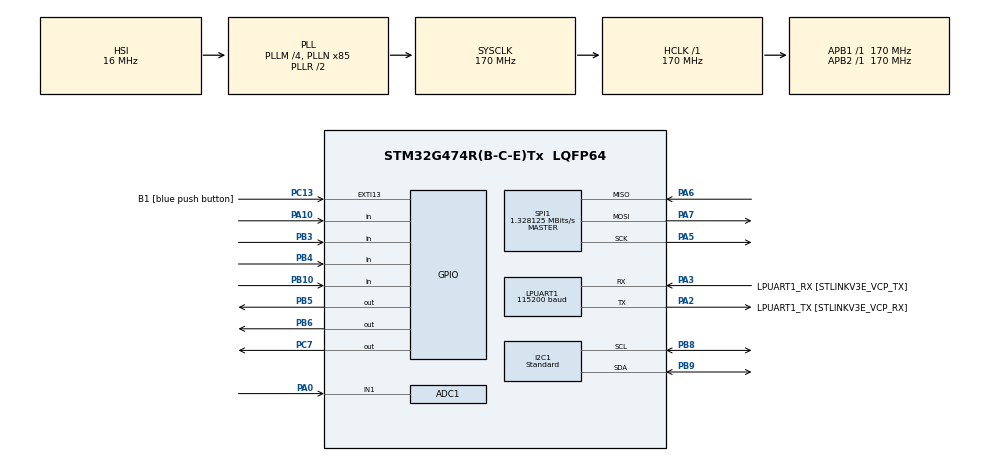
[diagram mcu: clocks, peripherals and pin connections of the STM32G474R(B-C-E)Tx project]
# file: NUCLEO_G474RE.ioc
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ADC1.Channel-2\#ChannelRegularConversion=ADC_CHANNEL_1
ADC1.NbrOfConversionFlag=1
ADC1.OffsetNumber-2\#ChannelRegularConversion=ADC_OFFSET_NONE
ADC1.Rank-2\#ChannelRegularConversion=1
ADC1.SamplingTime-2\#ChannelRegularConversion=ADC_SAMPLETIME_2CYCLES_5
ADC1.master=1
I2C1.CustomTiming=Disabled
I2C1.DualAddressMode=I2C_DUALADDRESS_DISABLE
I2C1.I2C_Speed_Mode=I2C_Standard
I2C1.Timing=0x40B285C2
LPUART1.BaudRate=115200
Mcu.Family=STM32G4
Mcu.Name=STM32G474R(B-C-E)Tx
Mcu.Package=LQFP64
NVIC.EXTI15_10_IRQn=true\:0\:0\:false\:false\:true\:true\:true\:true
NVIC.PriorityGroup=NVIC_PRIORITYGROUP_4
PA0.Mode=IN1-Single-Ended
PA0.Signal=ADC1_IN1
PA10.Signal=GPIO_Input
PA13.GPIO_Label=T_SWDIO
PA13.Signal=SYS_JTMS-SWDIO
PA14.GPIO_Label=T_SWCLK
PA14.Signal=SYS_JTCK-SWCLK
PA2.GPIO_Label=LPUART1_TX [STLINKV3E_VCP_RX]
PA2.Mode=Asynchronous
PA2.Signal=LPUART1_TX
PA3.GPIO_Label=LPUART1_RX [STLINKV3E_VCP_TX]
PA3.Mode=Asynchronous
PA3.Signal=LPUART1_RX
PA5.Mode=Full_Duplex_Master
PA5.Signal=SPI1_SCK
PA6.Mode=Full_Duplex_Master
PA6.Signal=SPI1_MISO
PA7.Mode=Full_Duplex_Master
PA7.Signal=SPI1_MOSI
PB10.Signal=GPIO_Input
PB3.Signal=GPIO_Input
PB4.Signal=GPIO_Input
PB5.PinState=GPIO_PIN_SET
PB5.Signal=GPIO_Output
PB6.Signal=GPIO_Output
PB8-BOOT0.Mode=I2C
PB8-BOOT0.Signal=I2C1_SCL
PB9.Mode=I2C
PB9.Signal=I2C1_SDA
PC13.GPIO_Label=B1 [blue push button]
PC13.Signal=GPXTI13
PC14-OSC32_IN.GPIO_Label=RCC_OSC32_IN
PC14-OSC32_IN.Signal=RCC_OSC32_IN
PC15-OSC32_OUT.GPIO_Label=RCC_OSC32_OUT
PC15-OSC32_OUT.Signal=RCC_OSC32_OUT
PC7.GPIO_Speed=GPIO_SPEED_FREQ_LOW
PC7.PinState=GPIO_PIN_SET
PC7.Signal=GPIO_Output
PF0-OSC_IN.GPIO_Label=RCC_OSC_IN
PF0-OSC_IN.Signal=RCC_OSC_IN
PF1-OSC_OUT.GPIO_Label=RCC_OSC_OUT
PF1-OSC_OUT.Signal=RCC_OSC_OUT
ProjectManager.HeapSize=0x200
ProjectManager.StackSize=0x400
ProjectManager.TargetToolchain=STM32CubeIDE
RCC.ADC12Freq_Value=170000000
RCC.ADC345Freq_Value=170000000
RCC.AHBFreq_Value=170000000
RCC.APB1Freq_Value=170000000
RCC.APB1TimFreq_Value=170000000
RCC.APB2Freq_Value=170000000
RCC.APB2TimFreq_Value=170000000
RCC.CortexFreq_Value=170000000
RCC.EXTERNAL_CLOCK_VALUE=12288000
RCC.HCLKFreq_Value=170000000
RCC.HSE_VALUE=24000000
RCC.HSI48_VALUE=48000000
RCC.HSI_VALUE=16000000
RCC.LSE_VALUE=32768
RCC.PLLM=RCC_PLLM_DIV4
RCC.PLLN=85
RCC.RTCClockSelection=RCC_RTCCLKSOURCE_LSE
RCC.SYSCLKFreq_VALUE=170000000
RCC.SYSCLKSource=RCC_SYSCLKSOURCE_PLLCLK
RCC.USBFreq_Value=170000000
RCC.VCOOutputFreq_Value=340000000
SPI1.BaudRatePrescaler=SPI_BAUDRATEPRESCALER_128
SPI1.CalculateBaudRate=1.328125 MBits/s
SPI1.DataSize=SPI_DATASIZE_8BIT
SPI1.Direction=SPI_DIRECTION_2LINES
SPI1.Mode=SPI_MODE_MASTER
SPI1.NSSPMode=SPI_NSS_PULSE_ENABLE
SPI1.VirtualType=VM_MASTER
VP_SYS_VS_DBSignals.Mode=DisableDeadBatterySignals
board=NUCLEO-G474RE

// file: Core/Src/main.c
/* USER CODE BEGIN Header */
/**
  ******************************************************************************
  * @file           : main.c
  * @brief          : Main program body
  ******************************************************************************
  * @attention
  *
  * Copyright (c) 2025 STMicroelectronics.
  * All rights reserved.
  *
  * This software is licensed under terms that can be found in the LICENSE file
  * in the root directory of this software component.
  * If no LICENSE file comes with this software, it is provided AS-IS.
  *
  ******************************************************************************
  */
/* USER CODE END Header */
#include "main.h"
#include "adBms_Application.h"

ADC_HandleTypeDef hadc1;

I2C_HandleTypeDef hi2c1;

UART_HandleTypeDef hlpuart1;

SPI_HandleTypeDef hspi1;

/* USER CODE BEGIN PV */
uint8_t HeaderTxBuffer[] = "****SPI - Two Boards communication based on Polling **** SPI Message ******** SPI Message ******** SPI Message ****";
/* USER CODE END PV */

void SystemClock_Config(void);
static void MX_GPIO_Init(void);
static void MX_ADC1_Init(void);
static void MX_I2C1_Init(void);
static void MX_LPUART1_UART_Init(void);
static void MX_SPI1_Init(void);
/* USER CODE BEGIN PFP */
#if defined(__ICCARM__)
/* New definition from EWARM V9, compatible with EWARM8 */
int iar_fputc(int ch);
#define PUTCHAR_PROTOTYPE int iar_fputc(int ch)
#elif defined ( __CC_ARM ) || defined(__ARMCC_VERSION)
/* ARM Compiler 5/6*/
#define PUTCHAR_PROTOTYPE int fputc(int ch, FILE *f)
#define GETCHAR_PROTOTYPE int fgetc(FILE *f)
#elif defined(__GNUC__)
#define PUTCHAR_PROTOTYPE int __io_putchar(int ch)
#define GETCHAR_PROTOTYPE int __io_getchar(void)
#endif /* __ICCARM__ */
/* USER CODE END PFP */

int main(void)
{

  /* MCU Configuration--------------------------------------------------------*/

  /* Reset of all peripherals, Initializes the Flash interface and the Systick. */
  HAL_Init();

  /* Configure the system clock */
  SystemClock_Config();

  /* Initialize all configured peripherals */
  MX_GPIO_Init();
  MX_ADC1_Init();
  MX_I2C1_Init();
  MX_LPUART1_UART_Init();
  MX_SPI1_Init();
  setvbuf(stdin, NULL, _IONBF, 0);
  /* USER CODE BEGIN 2 */
  adbms_main();
  /* USER CODE END 2 */

  /* Infinite loop */
  while (1)
  {

  }
}

void SystemClock_Config(void)
{
  RCC_OscInitTypeDef RCC_OscInitStruct = {0};
  RCC_ClkInitTypeDef RCC_ClkInitStruct = {0};

  /** Configure the main internal regulator output voltage
  */
  HAL_PWREx_ControlVoltageScaling(PWR_REGULATOR_VOLTAGE_SCALE1_BOOST);

  /** Initializes the RCC Oscillators according to the specified parameters
  * in the RCC_OscInitTypeDef structure.
  */
  RCC_OscInitStruct.OscillatorType = RCC_OSCILLATORTYPE_HSI;
  RCC_OscInitStruct.HSIState = RCC_HSI_ON;
  RCC_OscInitStruct.HSICalibrationValue = RCC_HSICALIBRATION_DEFAULT;
  RCC_OscInitStruct.PLL.PLLState = RCC_PLL_ON;
  RCC_OscInitStruct.PLL.PLLSource = RCC_PLLSOURCE_HSI;
  RCC_OscInitStruct.PLL.PLLM = RCC_PLLM_DIV4;
  RCC_OscInitStruct.PLL.PLLN = 85;
  RCC_OscInitStruct.PLL.PLLP = RCC_PLLP_DIV2;
  RCC_OscInitStruct.PLL.PLLQ = RCC_PLLQ_DIV2;
  RCC_OscInitStruct.PLL.PLLR = RCC_PLLR_DIV2;
  if (HAL_RCC_OscConfig(&RCC_OscInitStruct) != HAL_OK)
  {
    Error_Handler();
  }

  /** Initializes the CPU, AHB and APB buses clocks
  */
  RCC_ClkInitStruct.ClockType = RCC_CLOCKTYPE_HCLK|RCC_CLOCKTYPE_SYSCLK
                              |RCC_CLOCKTYPE_PCLK1|RCC_CLOCKTYPE_PCLK2;
  RCC_ClkInitStruct.SYSCLKSource = RCC_SYSCLKSOURCE_PLLCLK;
  RCC_ClkInitStruct.AHBCLKDivider = RCC_SYSCLK_DIV1;
  RCC_ClkInitStruct.APB1CLKDivider = RCC_HCLK_DIV1;
  RCC_ClkInitStruct.APB2CLKDivider = RCC_HCLK_DIV1;

  if (HAL_RCC_ClockConfig(&RCC_ClkInitStruct, FLASH_LATENCY_4) != HAL_OK)
  {
    Error_Handler();
  }
}

static void MX_ADC1_Init(void)
{

  ADC_MultiModeTypeDef multimode = {0};
  ADC_ChannelConfTypeDef sConfig = {0};

  /** Common config
  */
  hadc1.Instance = ADC1;
  hadc1.Init.ClockPrescaler = ADC_CLOCK_SYNC_PCLK_DIV4;
  hadc1.Init.Resolution = ADC_RESOLUTION_12B;
  hadc1.Init.DataAlign = ADC_DATAALIGN_RIGHT;
  hadc1.Init.GainCompensation = 0;
  hadc1.Init.ScanConvMode = ADC_SCAN_DISABLE;
  hadc1.Init.EOCSelection = ADC_EOC_SINGLE_CONV;
  hadc1.Init.LowPowerAutoWait = DISABLE;
  hadc1.Init.ContinuousConvMode = DISABLE;
  hadc1.Init.NbrOfConversion = 1;
  hadc1.Init.DiscontinuousConvMode = DISABLE;
  hadc1.Init.ExternalTrigConv = ADC_SOFTWARE_START;
  hadc1.Init.ExternalTrigConvEdge = ADC_EXTERNALTRIGCONVEDGE_NONE;
  hadc1.Init.DMAContinuousRequests = DISABLE;
  hadc1.Init.Overrun = ADC_OVR_DATA_PRESERVED;
  hadc1.Init.OversamplingMode = DISABLE;
  if (HAL_ADC_Init(&hadc1) != HAL_OK)
  {
    Error_Handler();
  }

  /** Configure the ADC multi-mode
  */
  multimode.Mode = ADC_MODE_INDEPENDENT;
  if (HAL_ADCEx_MultiModeConfigChannel(&hadc1, &multimode) != HAL_OK)
  {
    Error_Handler();
  }

  /** Configure Regular Channel
  */
  sConfig.Channel = ADC_CHANNEL_1;
  sConfig.Rank = ADC_REGULAR_RANK_1;
  sConfig.SamplingTime = ADC_SAMPLETIME_2CYCLES_5;
  sConfig.SingleDiff = ADC_SINGLE_ENDED;
  sConfig.OffsetNumber = ADC_OFFSET_NONE;
  sConfig.Offset = 0;
  if (HAL_ADC_ConfigChannel(&hadc1, &sConfig) != HAL_OK)
  {
    Error_Handler();
  }

}

static void MX_I2C1_Init(void)
{

  hi2c1.Instance = I2C1;
  hi2c1.Init.Timing = 0x40B285C2;
  hi2c1.Init.OwnAddress1 = 0;
  hi2c1.Init.AddressingMode = I2C_ADDRESSINGMODE_7BIT;
  hi2c1.Init.DualAddressMode = I2C_DUALADDRESS_DISABLE;
  hi2c1.Init.OwnAddress2 = 0;
  hi2c1.Init.OwnAddress2Masks = I2C_OA2_NOMASK;
  hi2c1.Init.GeneralCallMode = I2C_GENERALCALL_DISABLE;
  hi2c1.Init.NoStretchMode = I2C_NOSTRETCH_DISABLE;
  if (HAL_I2C_Init(&hi2c1) != HAL_OK)
  {
    Error_Handler();
  }

  /** Configure Analogue filter
  */
  if (HAL_I2CEx_ConfigAnalogFilter(&hi2c1, I2C_ANALOGFILTER_ENABLE) != HAL_OK)
  {
    Error_Handler();
  }

  /** Configure Digital filter
  */
  if (HAL_I2CEx_ConfigDigitalFilter(&hi2c1, 0) != HAL_OK)
  {
    Error_Handler();
  }

}

static void MX_LPUART1_UART_Init(void)
{

  hlpuart1.Instance = LPUART1;
  hlpuart1.Init.BaudRate = 115200;
  hlpuart1.Init.WordLength = UART_WORDLENGTH_8B;
  hlpuart1.Init.StopBits = UART_STOPBITS_1;
  hlpuart1.Init.Parity = UART_PARITY_NONE;
  hlpuart1.Init.Mode = UART_MODE_TX_RX;
  hlpuart1.Init.HwFlowCtl = UART_HWCONTROL_NONE;
  hlpuart1.Init.OneBitSampling = UART_ONE_BIT_SAMPLE_DISABLE;
  hlpuart1.Init.ClockPrescaler = UART_PRESCALER_DIV1;
  hlpuart1.AdvancedInit.AdvFeatureInit = UART_ADVFEATURE_NO_INIT;
  if (HAL_UART_Init(&hlpuart1) != HAL_OK)
  {
    Error_Handler();
  }
  if (HAL_UARTEx_SetTxFifoThreshold(&hlpuart1, UART_TXFIFO_THRESHOLD_1_8) != HAL_OK)
  {
    Error_Handler();
  }
  if (HAL_UARTEx_SetRxFifoThreshold(&hlpuart1, UART_RXFIFO_THRESHOLD_1_8) != HAL_OK)
  {
    Error_Handler();
  }
  if (HAL_UARTEx_DisableFifoMode(&hlpuart1) != HAL_OK)
  {
    Error_Handler();
  }

}

static void MX_SPI1_Init(void)
{

  /* SPI1 parameter configuration*/
  hspi1.Instance = SPI1;
  hspi1.Init.Mode = SPI_MODE_MASTER;
  hspi1.Init.Direction = SPI_DIRECTION_2LINES;
  hspi1.Init.DataSize = SPI_DATASIZE_8BIT;
  hspi1.Init.CLKPolarity = SPI_POLARITY_LOW;
  hspi1.Init.CLKPhase = SPI_PHASE_1EDGE;
  hspi1.Init.NSS = SPI_NSS_SOFT;
  hspi1.Init.BaudRatePrescaler = SPI_BAUDRATEPRESCALER_128;
  hspi1.Init.FirstBit = SPI_FIRSTBIT_MSB;
  hspi1.Init.TIMode = SPI_TIMODE_DISABLE;
  hspi1.Init.CRCCalculation = SPI_CRCCALCULATION_DISABLE;
  hspi1.Init.CRCPolynomial = 7;
  hspi1.Init.CRCLength = SPI_CRC_LENGTH_DATASIZE;
  hspi1.Init.NSSPMode = SPI_NSS_PULSE_ENABLE;
  if (HAL_SPI_Init(&hspi1) != HAL_OK)
  {
    Error_Handler();
  }

}

static void MX_GPIO_Init(void)
{
  GPIO_InitTypeDef GPIO_InitStruct = {0};

  /* GPIO Ports Clock Enable */
  __HAL_RCC_GPIOC_CLK_ENABLE();
  __HAL_RCC_GPIOF_CLK_ENABLE();
  __HAL_RCC_GPIOA_CLK_ENABLE();
  __HAL_RCC_GPIOB_CLK_ENABLE();

  /*Configure GPIO pin Output Level */
  HAL_GPIO_WritePin(GPIOC, GPIO_PIN_7, GPIO_PIN_SET);

  /*Configure GPIO pin Output Level */
  HAL_GPIO_WritePin(GPIOB, GPIO_PIN_5, GPIO_PIN_SET);

  /*Configure GPIO pin Output Level */
  HAL_GPIO_WritePin(GPIOB, GPIO_PIN_6, GPIO_PIN_RESET);

  /*Configure GPIO pin : B1_Pin */
  GPIO_InitStruct.Pin = B1_Pin;
  GPIO_InitStruct.Mode = GPIO_MODE_IT_RISING;
  GPIO_InitStruct.Pull = GPIO_NOPULL;
  HAL_GPIO_Init(B1_GPIO_Port, &GPIO_InitStruct);

  /*Configure GPIO pins : PB10 PB3 PB4 */
  GPIO_InitStruct.Pin = GPIO_PIN_10|GPIO_PIN_3|GPIO_PIN_4;
  GPIO_InitStruct.Mode = GPIO_MODE_INPUT;
  GPIO_InitStruct.Pull = GPIO_NOPULL;
  HAL_GPIO_Init(GPIOB, &GPIO_InitStruct);

  /*Configure GPIO pin : PC7 */
  GPIO_InitStruct.Pin = GPIO_PIN_7;
  GPIO_InitStruct.Mode = GPIO_MODE_OUTPUT_PP;
  GPIO_InitStruct.Pull = GPIO_NOPULL;
  GPIO_InitStruct.Speed = GPIO_SPEED_FREQ_LOW;
  HAL_GPIO_Init(GPIOC, &GPIO_InitStruct);

  /*Configure GPIO pin : PA10 */
  GPIO_InitStruct.Pin = GPIO_PIN_10;
  GPIO_InitStruct.Mode = GPIO_MODE_INPUT;
  GPIO_InitStruct.Pull = GPIO_NOPULL;
  HAL_GPIO_Init(GPIOA, &GPIO_InitStruct);

  /*Configure GPIO pins : PB5 PB6 */
  GPIO_InitStruct.Pin = GPIO_PIN_5|GPIO_PIN_6;
  GPIO_InitStruct.Mode = GPIO_MODE_OUTPUT_PP;
  GPIO_InitStruct.Pull = GPIO_NOPULL;
  GPIO_InitStruct.Speed = GPIO_SPEED_FREQ_LOW;
  HAL_GPIO_Init(GPIOB, &GPIO_InitStruct);

  /* EXTI interrupt init*/
  HAL_NVIC_SetPriority(EXTI15_10_IRQn, 0, 0);
  HAL_NVIC_EnableIRQ(EXTI15_10_IRQn);

}

/* USER CODE BEGIN 4 */
/**
  * @brief  Retargets the C library __write function to the IAR function iar_fputc.
  * @param  file: file descriptor.
  * @param  ptr: pointer to the buffer where the data is stored.
  * @param  len: length of the data to write in bytes.
  * @retval length of the written data in bytes.
  */
#if defined(__ICCARM__)
size_t __write(int file, unsigned char const *ptr, size_t len)
{
  size_t idx;
  unsigned char const *pdata = ptr;

  for (idx = 0; idx < len; idx++)
  {
    iar_fputc((int)*pdata);
    pdata++;
  }
  return len;
}
#endif /* __ICCARM__ */

/**
  * @brief  Retargets the C library printf function to the USART.
  */
PUTCHAR_PROTOTYPE
{
  /* Place your implementation of fputc here */
  /* e.g. write a character to the LPUART1 and Loop until the end of transmission */
  HAL_UART_Transmit(&hlpuart1, (uint8_t *)&ch, 1, 0xFFFF);

  return ch;
}

GETCHAR_PROTOTYPE
{
  uint8_t ch = 0;

  /* Clear the Overrun flag just before receiving the first character */
  __HAL_UART_CLEAR_OREFLAG(&hlpuart1);

  /* Wait for reception of a character on the USART RX line and echo this
   * character on console */
  HAL_UART_Receive(&hlpuart1, (uint8_t *)&ch, 1, HAL_MAX_DELAY);
  HAL_UART_Transmit(&hlpuart1, (uint8_t *)&ch, 1, HAL_MAX_DELAY);
  return ch;
}
/* USER CODE END 4 */

void Error_Handler(void)
{
  __disable_irq();
  while (1)
  {
  }
}
